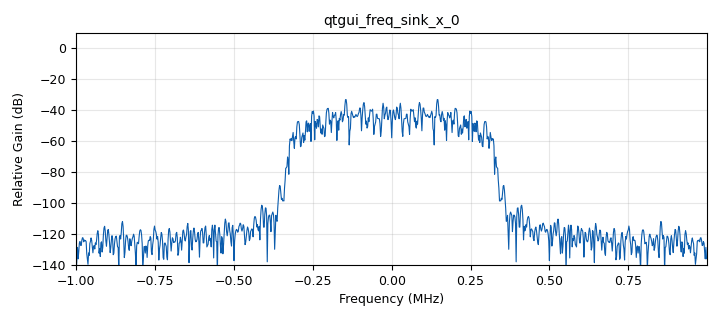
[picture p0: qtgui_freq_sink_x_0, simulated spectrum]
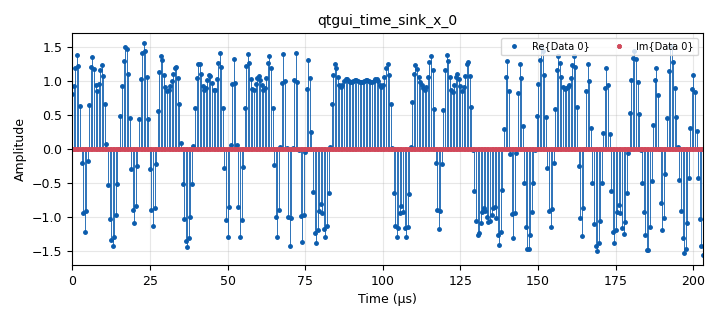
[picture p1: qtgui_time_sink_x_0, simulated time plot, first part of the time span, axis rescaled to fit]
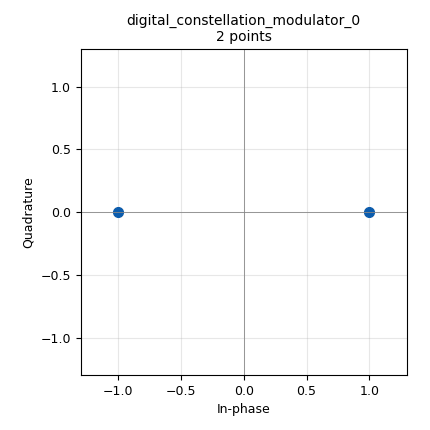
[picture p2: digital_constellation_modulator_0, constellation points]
options:
  parameters:
    author: vineeth
    generate_options: qt_gui
    id: bpsk_transmitter
    output_language: python
    title: Not titled yet
  states: {}

blocks:
- name: bpsk
  id: variable_constellation
  parameters:
    precision: '8'
    type: bpsk
  states: {}
- name: excess_bw
  id: variable
  parameters:
    value: '0.35'
  states: {}
- name: samp_rate
  id: variable
  parameters:
    value: 2e6
  states: {}
- name: sps
  id: variable
  parameters:
    value: '4'
  states: {}
- name: analog_random_source_x_0
  id: analog_random_source_x
  parameters:
    max: '255'
    min: '0'
    num_samps: '10000'
    repeat: 'True'
    type: byte
  states: {}
- name: blocks_complex_to_float_0
  id: blocks_complex_to_float
  parameters: {}
  states: {state: disabled}
- name: blocks_multiply_const_vxx_0
  id: blocks_multiply_const_vxx
  parameters:
    const: '0.25'
    type: complex
  states: {}
- name: digital_constellation_modulator_0
  id: digital_constellation_modulator
  parameters:
    comment: 'Constellation: bpsk'
    constellation: bpsk
    differential: 'True'
    excess_bw: excess_bw
    samples_per_symbol: sps
  states: {}
- name: qtgui_freq_sink_x_0
  id: qtgui_freq_sink_x
  parameters:
    bw: samp_rate
    fc: '0'
    fftsize: '1024'
    type: complex
  states: {}
- name: qtgui_histogram_sink_x_0
  id: qtgui_histogram_sink_x
  parameters:
    bins: '100'
    size: '1024'
    type: float
    xmax: '1'
    xmin: '-1'
  states: {state: disabled}
- name: qtgui_time_sink_x_0
  id: qtgui_time_sink_x
  parameters:
    size: '1024'
    srate: samp_rate
    stemplot: 'True'
    type: complex
  states: {}
- name: soapy_hackrf_sink_0
  id: soapy_hackrf_sink
  parameters:
    center_freq: 100e6
    dev_args: driver=hackrf
    samp_rate: samp_rate
    type: fc32
    vga: '40'
  states: {state: disabled}
- name: virtual_sink_1
  id: virtual_sink
  parameters:
    stream_id: '"xmt_sig"'
  states: {}

connections:
- [analog_random_source_x_0, '0', digital_constellation_modulator_0, '0']
- [analog_random_source_x_0, '0', virtual_sink_1, '0']
- [blocks_complex_to_float_0, '0', qtgui_histogram_sink_x_0, '0']
- [blocks_multiply_const_vxx_0, '0', blocks_complex_to_float_0, '0']
- [blocks_multiply_const_vxx_0, '0', qtgui_freq_sink_x_0, '0']
- [blocks_multiply_const_vxx_0, '0', soapy_hackrf_sink_0, '0']
- [digital_constellation_modulator_0, '0', blocks_multiply_const_vxx_0, '0']
- [digital_constellation_modulator_0, '0', qtgui_time_sink_x_0, '0']

metadata:
  file_format: 1
  grc_version: 3.10.12.0
